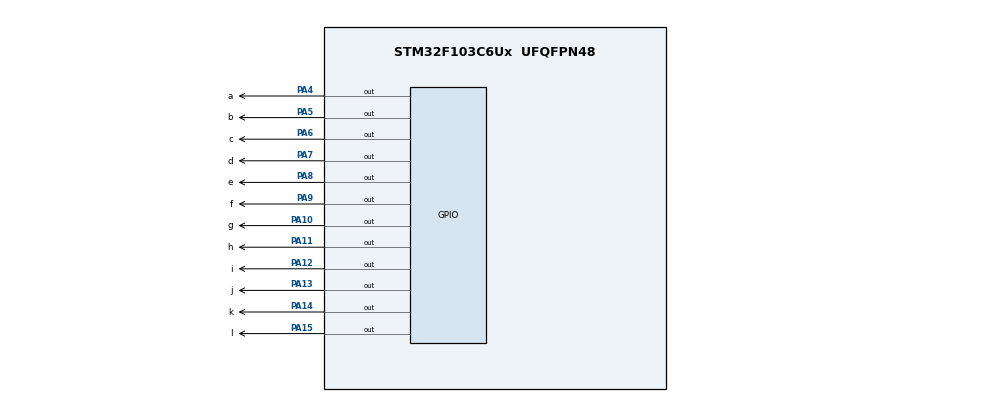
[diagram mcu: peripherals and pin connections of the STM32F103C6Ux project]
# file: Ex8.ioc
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Mcu.Family=STM32F1
Mcu.Name=STM32F103C6Ux
Mcu.Package=UFQFPN48
NVIC.PriorityGroup=NVIC_PRIORITYGROUP_4
PA10.GPIO_Label=g
PA10.Signal=GPIO_Output
PA11.GPIO_Label=h
PA11.Signal=GPIO_Output
PA12.GPIO_Label=i
PA12.Signal=GPIO_Output
PA13.GPIO_Label=j
PA13.Signal=GPIO_Output
PA14.GPIO_Label=k
PA14.Signal=GPIO_Output
PA15.GPIO_Label=l
PA15.Signal=GPIO_Output
PA4.GPIO_Label=a
PA4.Signal=GPIO_Output
PA5.GPIO_Label=b
PA5.Signal=GPIO_Output
PA6.GPIO_Label=c
PA6.Signal=GPIO_Output
PA7.GPIO_Label=d
PA7.Signal=GPIO_Output
PA8.GPIO_Label=e
PA8.Signal=GPIO_Output
PA9.GPIO_Label=f
PA9.Signal=GPIO_Output
ProjectManager.HeapSize=0x200
ProjectManager.StackSize=0x400
ProjectManager.TargetToolchain=STM32CubeIDE
RCC.APB1Freq_Value=8000000
RCC.APB2Freq_Value=8000000
VP_SYS_VS_ND.Mode=No_Debug
board=custom

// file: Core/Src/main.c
/* USER CODE BEGIN Header */
/**
  ******************************************************************************
  * @file           : main.c
  * @brief          : Main program body
  ******************************************************************************
  * @attention
  *
  * <h2><center>&copy; Copyright (c) 2022 STMicroelectronics.
  * All rights reserved.</center></h2>
  *
  * This software component is licensed by ST under BSD 3-Clause license,
  * the "License"; You may not use this file except in compliance with the
  * License. You may obtain a copy of the License at:
  *                        opensource.org/licenses/BSD-3-Clause
  *
  ******************************************************************************
  */
/* USER CODE END Header */
#include "main.h"

void SystemClock_Config(void);
static void MX_GPIO_Init(void);
/* USER CODE BEGIN PFP */
void clock(int h,int m,int s);
void setNumberOnClock(int num);
/* USER CODE END PFP */

int main(void)
{

  /* MCU Configuration--------------------------------------------------------*/

  /* Reset of all peripherals, Initializes the Flash interface and the Systick. */
  HAL_Init();

  /* USER CODE BEGIN Init */
  int dem=5;
  /* USER CODE END Init */

  /* Configure the system clock */
  SystemClock_Config();

  /* Initialize all configured peripherals */
  MX_GPIO_Init();

  /* Infinite loop */
  while (1)
  {
	  clock(10,30,20);
	  if (dem==0) setNumberOnClock(7);
	  if(dem>0) dem--;

	  	  HAL_Delay(1000);
  }
}

void SystemClock_Config(void)
{
  RCC_OscInitTypeDef RCC_OscInitStruct = {0};
  RCC_ClkInitTypeDef RCC_ClkInitStruct = {0};

  /** Initializes the RCC Oscillators according to the specified parameters
  * in the RCC_OscInitTypeDef structure.
  */
  RCC_OscInitStruct.OscillatorType = RCC_OSCILLATORTYPE_HSI;
  RCC_OscInitStruct.HSIState = RCC_HSI_ON;
  RCC_OscInitStruct.HSICalibrationValue = RCC_HSICALIBRATION_DEFAULT;
  RCC_OscInitStruct.PLL.PLLState = RCC_PLL_NONE;
  if (HAL_RCC_OscConfig(&RCC_OscInitStruct) != HAL_OK)
  {
    Error_Handler();
  }
  /** Initializes the CPU, AHB and APB buses clocks
  */
  RCC_ClkInitStruct.ClockType = RCC_CLOCKTYPE_HCLK|RCC_CLOCKTYPE_SYSCLK
                              |RCC_CLOCKTYPE_PCLK1|RCC_CLOCKTYPE_PCLK2;
  RCC_ClkInitStruct.SYSCLKSource = RCC_SYSCLKSOURCE_HSI;
  RCC_ClkInitStruct.AHBCLKDivider = RCC_SYSCLK_DIV1;
  RCC_ClkInitStruct.APB1CLKDivider = RCC_HCLK_DIV1;
  RCC_ClkInitStruct.APB2CLKDivider = RCC_HCLK_DIV1;

  if (HAL_RCC_ClockConfig(&RCC_ClkInitStruct, FLASH_LATENCY_0) != HAL_OK)
  {
    Error_Handler();
  }
}

static void MX_GPIO_Init(void)
{
  GPIO_InitTypeDef GPIO_InitStruct = {0};

  /* GPIO Ports Clock Enable */
  __HAL_RCC_GPIOA_CLK_ENABLE();

  /*Configure GPIO pin Output Level */
  HAL_GPIO_WritePin(GPIOA, a_Pin|b_Pin|c_Pin|d_Pin
                          |e_Pin|f_Pin|g_Pin|h_Pin
                          |i_Pin|j_Pin|k_Pin|l_Pin, GPIO_PIN_RESET);

  /*Configure GPIO pins : a_Pin b_Pin c_Pin d_Pin
                           e_Pin f_Pin g_Pin h_Pin
                           i_Pin j_Pin k_Pin l_Pin */
  GPIO_InitStruct.Pin = a_Pin|b_Pin|c_Pin|d_Pin
                          |e_Pin|f_Pin|g_Pin|h_Pin
                          |i_Pin|j_Pin|k_Pin|l_Pin;
  GPIO_InitStruct.Mode = GPIO_MODE_OUTPUT_PP;
  GPIO_InitStruct.Pull = GPIO_NOPULL;
  GPIO_InitStruct.Speed = GPIO_SPEED_FREQ_LOW;
  HAL_GPIO_Init(GPIOA, &GPIO_InitStruct);

}

/* USER CODE BEGIN 4 */
void clock(int h,int m,int s)
{
	HAL_GPIO_WritePin(GPIOA, a_Pin|b_Pin|c_Pin|d_Pin|e_Pin|f_Pin|g_Pin|h_Pin|i_Pin|j_Pin|k_Pin|l_Pin, GPIO_PIN_SET);
	switch (s)
				{
		case 0:
					HAL_GPIO_WritePin(GPIOA, a_Pin, GPIO_PIN_RESET);
					break;
				case 5:
					HAL_GPIO_WritePin(GPIOA, b_Pin, GPIO_PIN_RESET);
					break;
				case 10:
					HAL_GPIO_WritePin(GPIOA, c_Pin, GPIO_PIN_RESET);
					break;
				case 15:
					HAL_GPIO_WritePin(GPIOA, d_Pin, GPIO_PIN_RESET);
					break;
				case 20:
					HAL_GPIO_WritePin(GPIOA, e_Pin, GPIO_PIN_RESET);
					break;
				case 25:
					HAL_GPIO_WritePin(GPIOA, f_Pin, GPIO_PIN_RESET);
						break;
				case 30:
					HAL_GPIO_WritePin(GPIOA, g_Pin, GPIO_PIN_RESET);
						break;
				case 35:
					HAL_GPIO_WritePin(GPIOA, h_Pin, GPIO_PIN_RESET);
						break;
				case 40:
					HAL_GPIO_WritePin(GPIOA, i_Pin, GPIO_PIN_RESET);
						break;
					case 45:
						HAL_GPIO_WritePin(GPIOA, j_Pin, GPIO_PIN_RESET);
						break;
					case 50:
						HAL_GPIO_WritePin(GPIOA, k_Pin, GPIO_PIN_RESET);
						break;
					case 55:
						HAL_GPIO_WritePin(GPIOA, l_Pin, GPIO_PIN_RESET);
						break;
					default: break;
				}

	switch (m)
			{
			case 0:
				HAL_GPIO_WritePin(GPIOA, a_Pin, GPIO_PIN_RESET);
				break;
			case 5:
				HAL_GPIO_WritePin(GPIOA, b_Pin, GPIO_PIN_RESET);
				break;
			case 10:
				HAL_GPIO_WritePin(GPIOA, c_Pin, GPIO_PIN_RESET);
				break;
			case 15:
				HAL_GPIO_WritePin(GPIOA, d_Pin, GPIO_PIN_RESET);
				break;
			case 20:
				HAL_GPIO_WritePin(GPIOA, e_Pin, GPIO_PIN_RESET);
				break;
			case 25:
				HAL_GPIO_WritePin(GPIOA, f_Pin, GPIO_PIN_RESET);
					break;
			case 30:
				HAL_GPIO_WritePin(GPIOA, g_Pin, GPIO_PIN_RESET);
					break;
			case 35:
				HAL_GPIO_WritePin(GPIOA, h_Pin, GPIO_PIN_RESET);
					break;
			case 40:
				HAL_GPIO_WritePin(GPIOA, i_Pin, GPIO_PIN_RESET);
					break;
				case 45:
					HAL_GPIO_WritePin(GPIOA, j_Pin, GPIO_PIN_RESET);
					break;
				case 50:
					HAL_GPIO_WritePin(GPIOA, k_Pin, GPIO_PIN_RESET);
					break;
				case 55:
					HAL_GPIO_WritePin(GPIOA, l_Pin, GPIO_PIN_RESET);
					break;
				default: break;
			}

	switch (h)
	{
	case 0:
		HAL_GPIO_WritePin(GPIOA, a_Pin, GPIO_PIN_RESET);
		break;
	case 1:
		HAL_GPIO_WritePin(GPIOA, b_Pin, GPIO_PIN_RESET);
		break;
	case 2:
		HAL_GPIO_WritePin(GPIOA, c_Pin, GPIO_PIN_RESET);
		break;
	case 3:
		HAL_GPIO_WritePin(GPIOA, d_Pin, GPIO_PIN_RESET);
		break;
	case 4:
		HAL_GPIO_WritePin(GPIOA, e_Pin, GPIO_PIN_RESET);
		break;
	case 5:
		HAL_GPIO_WritePin(GPIOA, f_Pin, GPIO_PIN_RESET);
			break;
	case 6:
		HAL_GPIO_WritePin(GPIOA, g_Pin, GPIO_PIN_RESET);
			break;
	case 7:
		HAL_GPIO_WritePin(GPIOA, h_Pin, GPIO_PIN_RESET);
			break;
	case 8:
		HAL_GPIO_WritePin(GPIOA, i_Pin, GPIO_PIN_RESET);
			break;
		case 9:
			HAL_GPIO_WritePin(GPIOA, j_Pin, GPIO_PIN_RESET);
			break;
		case 10:
			HAL_GPIO_WritePin(GPIOA, k_Pin, GPIO_PIN_RESET);
			break;
		case 11:
			HAL_GPIO_WritePin(GPIOA, l_Pin, GPIO_PIN_RESET);
			break;
		default: break;
	}
}

void setNumberOnClock(int num)
{
	switch (num)
		{
		case 0:
			HAL_GPIO_WritePin(GPIOA, a_Pin, GPIO_PIN_RESET);
			break;
		case 1:
			HAL_GPIO_WritePin(GPIOA, b_Pin, GPIO_PIN_RESET);
			break;
		case 2:
			HAL_GPIO_WritePin(GPIOA, c_Pin, GPIO_PIN_RESET);
			break;
		case 3:
			HAL_GPIO_WritePin(GPIOA, d_Pin, GPIO_PIN_RESET);
			break;
		case 4:
			HAL_GPIO_WritePin(GPIOA, e_Pin, GPIO_PIN_RESET);
			break;
		case 5:
			HAL_GPIO_WritePin(GPIOA, f_Pin, GPIO_PIN_RESET);
				break;
		case 6:
			HAL_GPIO_WritePin(GPIOA, g_Pin, GPIO_PIN_RESET);
				break;
		case 7:
			HAL_GPIO_WritePin(GPIOA, h_Pin, GPIO_PIN_RESET);
				break;
		case 8:
			HAL_GPIO_WritePin(GPIOA, i_Pin, GPIO_PIN_RESET);
				break;
			case 9:
				HAL_GPIO_WritePin(GPIOA, j_Pin, GPIO_PIN_RESET);
				break;
			case 10:
				HAL_GPIO_WritePin(GPIOA, k_Pin, GPIO_PIN_RESET);
				break;
			case 11:
				HAL_GPIO_WritePin(GPIOA, l_Pin, GPIO_PIN_RESET);
				break;
			default: break;
		}
}
/* USER CODE END 4 */

void Error_Handler(void)
{
  __disable_irq();
  while (1)
  {
  }
}

/************************ (C) COPYRIGHT STMicroelectronics *****END OF FILE****/
